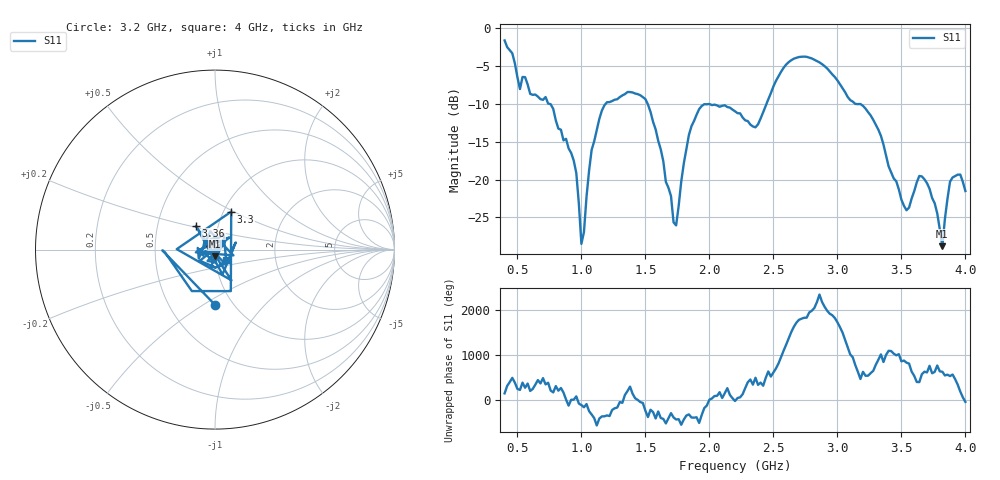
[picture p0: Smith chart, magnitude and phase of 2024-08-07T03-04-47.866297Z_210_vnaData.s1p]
!Created with skrf (http://scikit-rf.org).
# Hz S RI R 50.0
!freq ReS11 ImS11
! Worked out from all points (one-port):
!   181 points, 400 MHz to 4 GHz, reference 50 ohm
!   lowest |S11| = -28.8 dB at 3.82 GHz (marker M1), VSWR 1.08, Z = 49.9 - j3.64 ohm
!   |S11| at or under -10 dB: 744.7 MHz to 1.19 GHz (445.5 MHz wide, 46 % of centre); 1.517 GHz to 2.446 GHz (929.2 MHz wide, 46.9 % of centre); 3.138 GHz to end of sweep
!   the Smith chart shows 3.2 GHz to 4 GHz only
!   S11 on the Smith chart (normalised r, x): 3.2 GHz: 0.83, -0.56; 3.3 GHz: 1.09, +0.49; 3.36 GHz: 0.78, +0.21; 4 GHz: 1.12, -0.13
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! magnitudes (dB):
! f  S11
! 400 MHz  -1.7
! 520 MHz  -8.1
! 720 MHz  -9.1
! 860 MHz  -14.8
! 960 MHz  -19.1
! 1 GHz  -28.5
! 1.08 GHz  -16.1
! 1.14 GHz  -12.0
! 1.3 GHz  -9.1
! 1.5 GHz  -9.4
! 1.62 GHz  -16.0
! 1.72 GHz  -25.6
! 1.76 GHz  -23.5
! 1.84 GHz  -14.1
! 1.92 GHz  -10.7
! 2.2 GHz  -11.0
! 2.36 GHz  -13.1
! 2.66 GHz  -4.1
! 2.88 GHz  -4.8
! 3.1 GHz  -9.5
! 3.2 GHz  -10.3
! 3.3 GHz  -12.8
! 3.36 GHz  -15.4
! 3.56 GHz  -23.7
! 3.68 GHz  -20.0
! 3.82 GHz  -28.8
! 3.88 GHz  -20.3
! 4 GHz  -21.5
